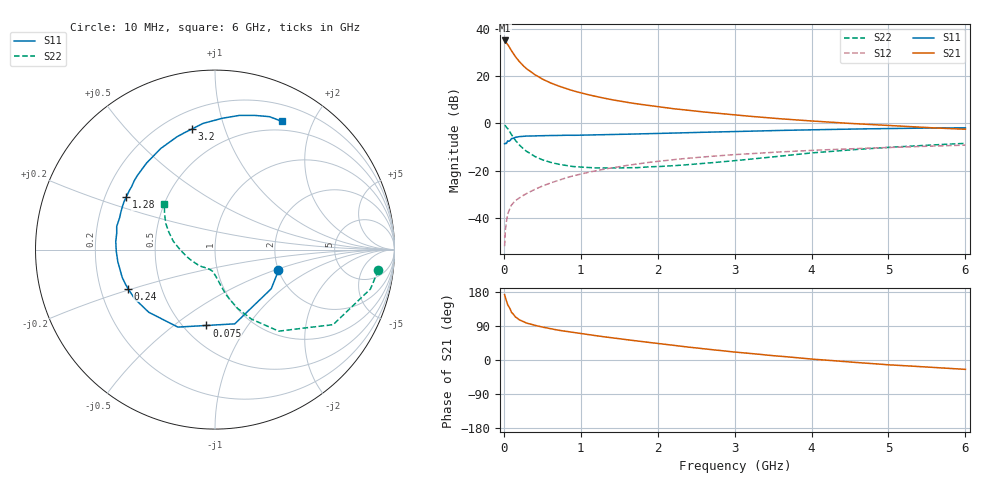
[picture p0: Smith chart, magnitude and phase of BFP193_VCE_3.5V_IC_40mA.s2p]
! Infineon Technologies  Discrete & RF Semiconductors
! BFP193
! VCE = 3.5 V,  IC =  40 mA
! Common Emitter S-Parameters:  Jan 2016
# GHz  S  MA  R  50
!  f  S11  S21  S12  S22
! GHz  MAG  ANG  MAG  ANG  MAG  ANG  MAG  ANG
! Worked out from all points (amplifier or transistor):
!   210 points, 10 MHz to 6 GHz, reference 50 ohm
!   highest |S21| = 35.2 dB at 10 MHz (marker M1)
!   |S21| within 3 dB of that: start of sweep to 74.35 MHz
!   unconditionally stable (mu >= 1): 580.1 MHz to 3.914 GHz
!   at 185 MHz: K = 0.65, MSG = 29.4 dB, |S12| = -31.9 dB
!   at 1.52 GHz: K = 1.07, MAG = 12.2 dB, |S12| = -18.2 dB
!   at 6 GHz: K = 0.94, MSG = 3.4 dB, |S12| = -9.2 dB
!   S11 on the Smith chart (normalised r, x): 10 MHz: 2.00, -0.54; 75 MHz: 0.64, -0.66; 240 MHz: 0.32, -0.19; 1.28 GHz: 0.29, +0.25; 3.2 GHz: 0.31, +0.78; 6 GHz: 0.39, +1.58
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0.01  0.3724 -18.2  57.38 172.4  0.0025 84.6  0.9172 -7.2
0.02  0.3819 -34.8  55.03 164.0  0.0054 75.6  0.8935 -14.2
0.05  0.4281 -75.1  47.47 145.7  0.0119 67.7  0.78 -32.4
0.075  0.4255 -96.5  40.45 137.2  0.0153 62.0  0.6686 -40.7
0.1  0.4788 -115.6  34.67 125.6  0.0187 58.3  0.5766 -52.0
0.15  0.5081 -136.6  26.01 113.5  0.0231 54.7  0.4377 -62.3
0.2  0.525 -148.7  20.59 106.2  0.0262 55.6  0.352 -68.9
0.24  0.531 -155.8  17.52 102.1  0.029 55.9  0.3034 -72.4
0.3  0.5398 -163.4  14.22 97.1  0.0329 57.9  0.2535 -76.6
0.38  0.5433 -171.0  11.53 92.9  0.0383 59.6  0.2108 -80.0
0.4  0.5456 -172.9  10.87 91.5  0.0396 59.9  0.2003 -81.1
0.5  0.5501 -179.0  8.721 86.8  0.047 61.6  0.1694 -84.6
0.6  0.5547 175.4  7.312 82.8  0.0541 62.7  0.1503 -87.9
0.7  0.5552 170.5  6.303 78.9  0.0614 63.3  0.1374 -90.7
1.02  0.5646 158.1  4.363 69.2  0.086 62.3  0.1181 -99.4
1.28  0.5744 149.3  3.494 61.9  0.1056 60.2  0.1132 -107.2
2.02  0.6154 127.9  2.237 43.3  0.1583 51.7  0.122 -132.0
3.1  0.6781 102.7  1.465 19.2  0.2231 37.9  0.1681 -169.3
3.2  0.6841 100.8  1.418 17.4  0.2283 36.7  0.1743 -172.3
4.1  0.7374 85.3  1.1 1.0  0.2728 26.0  0.244 166.6
5.1  0.7835 72.2  0.886 -13.8  0.3129 14.8  0.3175 150.3
6  0.8059 62.4  0.753 -24.7  0.3462 5.2  0.3781 138.2
